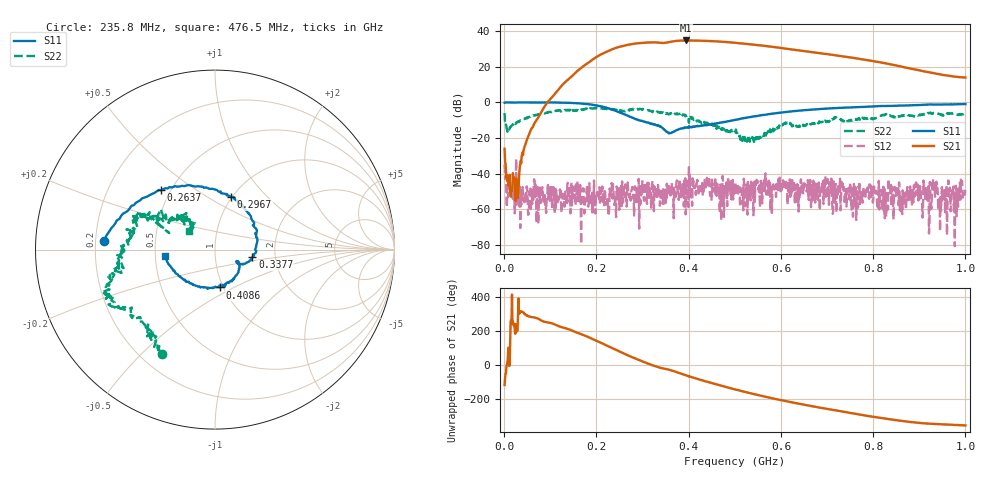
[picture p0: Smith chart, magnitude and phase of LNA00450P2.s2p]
! Created with skrf 1.9.0 (http://scikit-rf.org).
# Hz S RI R 50.0
!freq ReS11 ImS11 ReS21 ImS21 ReS12 ImS12 ReS22 ImS22
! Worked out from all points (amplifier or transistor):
!   1001 points, 1 MHz to 1 GHz, reference 50 ohm
!   highest |S21| = 34.8 dB at 394.6 MHz (marker M1)
!   |S21| within 3 dB of that: 258.7 MHz to 563 MHz (304.3 MHz wide, 74.1 % of centre)
!   unconditionally stable (mu >= 1): 236 MHz to 291.5 MHz; 299.8 MHz to 400.6 MHz; 400.7 MHz to end of sweep (the widest 3 of 41)
!   at 166.8 MHz: K = 36.99, MAG = 30.7 dB, |S12| = -79.4 dB
!   at 500.5 MHz: K = 1.93, MAG = 34.2 dB, |S12| = -45.9 dB
!   at 1 GHz: K = 3.30, MAG = 22.7 dB, |S12| = -47.7 dB
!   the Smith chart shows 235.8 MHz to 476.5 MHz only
!   S11 on the Smith chart (normalised r, x): 235.8 MHz: 0.24, +0.03; 263.7 MHz: 0.44, +0.37; 296.7 MHz: 0.99, +0.64; 337.7 MHz: 1.52, -0.14; 408.6 MHz: 0.97, -0.43; 476.5 MHz: 0.56, -0.05
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1000000  0.9855 0.000901  -0.0222 -0.0454  -0.011 0.0146  0.3697 0.3436
1.08892e8  0.5232 -0.8474  -0.7937 -1.476  0.000649 0.00156  0.4186 -0.3785
1.67833e8  -0.2284 -0.9042  -9.58 -0.5063  -9.92e-06 -0.00168  0.0383 -0.6411
2.07793e8  -0.6621 -0.4253  -15.36 15  -0.000285 -0.00153  -0.2083 -0.6499
2.35765e8  -0.6159 0.0453  -5.147 31.17  0.00201 -0.00478  -0.293 -0.579
2.63737e8  -0.301 0.3307  17.25 36.21  -0.00307 -0.000237  -0.4689 -0.3648
2.96704e8  0.0903 0.2945  41.29 21.1  -0.00155 0.0019  -0.6081 -0.2348
3.16684e8  0.2167 0.1393  47.92 4.836  0.000851 0.00183  -0.5605 -0.1317
3.34666e8  0.2255 -0.0197  46.85 -9.3  -0.00127 0.00221  -0.53 -0.0368
3.37663e8  0.2086 -0.0433  46.01 -11.02  0.0011 0.000634  -0.5143 -0.0512
3.68632e8  0.1324 -0.0798  43.33 -29.73  0.00141 0.00381  -0.4565 0.15
3.94606e8  0.0811 -0.1787  28.4 -46.96  0.0045 0.00161  -0.3815 0.1797
4.08592e8  0.0296 -0.2107  17.76 -51.84  -0.00449 0.00597  -0.3024 0.2261
4.41559e8  -0.1498 -0.1789  -7.211 -52.87  0.00418 0.000981  -0.1927 0.1833
4.76524e8  -0.2789 -0.0373  -28.17 -41.28  0.000577 0.000215  -0.1475 0.1062
5.005e8  -0.3088 0.0988  -37.08 -29.58  0.00493 0.00111  -0.1079 0.0965
5.39461e8  -0.2567 0.3144  -41.09 -8.948  0.00225 0.00188  -0.1031 -0.0171
5.85415e8  -0.0736 0.4887  -34.48 10.03  0.0044 -0.00145  -0.1483 -0.0696
6.67333e8  0.3216 0.5429  -12.67 22.29  -0.000954 -0.0028  -0.2536 -0.0399
7.53247e8  0.6254 0.3793  3.577 17.71  -0.000969 0.000163  -0.3122 0.0246
8.34166e8  0.7857 0.148  8.711 8.265  -0.00155 -0.00405  -0.4353 0.0648
1e9  0.8192 -0.3795  4.971 0.5642  -0.00359 0.00202  -0.235 0.4083
